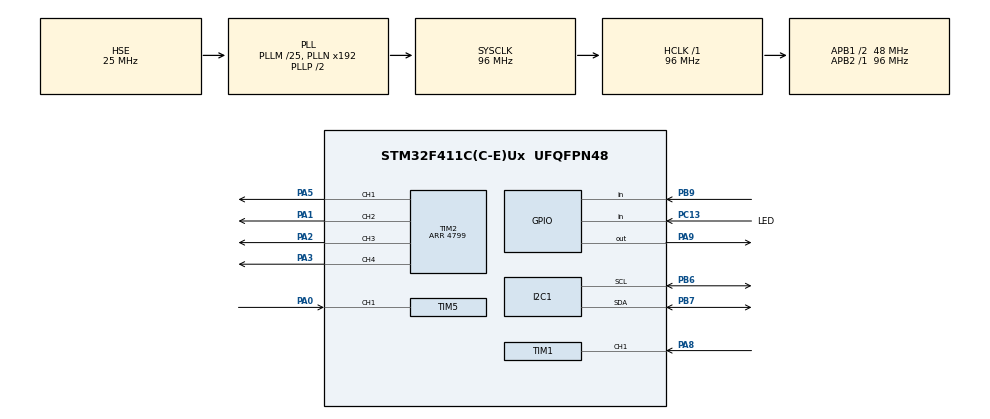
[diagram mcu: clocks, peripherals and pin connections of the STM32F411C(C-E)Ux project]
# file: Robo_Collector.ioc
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Mcu.Family=STM32F4
Mcu.Name=STM32F411C(C-E)Ux
Mcu.Package=UFQFPN48
NVIC.PriorityGroup=NVIC_PRIORITYGROUP_4
NVIC.TIM1_CC_IRQn=true\:0\:0\:false\:false\:true\:true\:true\:true
NVIC.TIM5_IRQn=true\:0\:0\:false\:false\:true\:true\:true\:true
PA0-WKUP.Signal=S_TIM5_CH1
PA1.Signal=S_TIM2_CH2
PA13.Mode=Serial_Wire
PA13.Signal=SYS_JTMS-SWDIO
PA14.Mode=Serial_Wire
PA14.Signal=SYS_JTCK-SWCLK
PA2.Signal=S_TIM2_CH3
PA3.Signal=S_TIM2_CH4
PA5.Signal=S_TIM2_CH1_ETR
PA8.Signal=S_TIM1_CH1
PA9.Signal=GPIO_Output
PB6.Mode=I2C
PB6.Signal=I2C1_SCL
PB7.Mode=I2C
PB7.Signal=I2C1_SDA
PB9.Signal=GPIO_Input
PC13-ANTI_TAMP.GPIO_Label=LED
PC13-ANTI_TAMP.Signal=GPIO_Input
PH0\ -\ OSC_IN.Mode=HSE-External-Oscillator
PH0\ -\ OSC_IN.Signal=RCC_OSC_IN
PH1\ -\ OSC_OUT.Mode=HSE-External-Oscillator
PH1\ -\ OSC_OUT.Signal=RCC_OSC_OUT
ProjectManager.HeapSize=0x200
ProjectManager.StackSize=0x400
ProjectManager.TargetToolchain=STM32CubeIDE
RCC.48MHZClocksFreq_Value=48000000
RCC.AHBFreq_Value=96000000
RCC.APB1CLKDivider=RCC_HCLK_DIV2
RCC.APB1Freq_Value=48000000
RCC.APB1TimFreq_Value=96000000
RCC.APB2Freq_Value=96000000
RCC.APB2TimFreq_Value=96000000
RCC.CortexFreq_Value=96000000
RCC.HCLKFreq_Value=96000000
RCC.HSE_VALUE=25000000
RCC.HSI_VALUE=16000000
RCC.LSE_VALUE=32768
RCC.PLLM=25
RCC.PLLSourceVirtual=RCC_PLLSOURCE_HSE
RCC.SYSCLKFreq_VALUE=96000000
RCC.SYSCLKSource=RCC_SYSCLKSOURCE_PLLCLK
RCC.VCOOutputFreq_Value=192000000
SH.S_TIM1_CH1.0=TIM1_CH1,Input_Capture1_from_TI1
SH.S_TIM2_CH1_ETR.0=TIM2_CH1,PWM Generation1 CH1
SH.S_TIM2_CH2.0=TIM2_CH2,PWM Generation2 CH2
SH.S_TIM2_CH3.0=TIM2_CH3,PWM Generation3 CH3
SH.S_TIM2_CH4.0=TIM2_CH4,PWM Generation4 CH4
SH.S_TIM5_CH1.0=TIM5_CH1,PWM_Input_1
TIM1.Channel-Input_Capture1_from_TI1=TIM_CHANNEL_1
TIM1.Prescaler=96-1
TIM2.Channel-PWM\ Generation1\ CH1=TIM_CHANNEL_1
TIM2.Channel-PWM\ Generation2\ CH2=TIM_CHANNEL_2
TIM2.Channel-PWM\ Generation3\ CH3=TIM_CHANNEL_3
TIM2.Channel-PWM\ Generation4\ CH4=TIM_CHANNEL_4
TIM2.Period=4799
VP_TIM2_VS_ClockSourceINT.Mode=Internal
VP_TIM5_VS_ClockSourceINT.Mode=Internal
board=custom

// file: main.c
/* USER CODE BEGIN Header */
/**
  ******************************************************************************
  * @file           : main.c
  * @brief          : Main program body
  ******************************************************************************
  * @attention
  *
  * Copyright (c) 2023 STMicroelectronics.
  * All rights reserved.
  *
  * This software is licensed under terms that can be found in the LICENSE file
  * in the root directory of this software component.
  * If no LICENSE file comes with this software, it is provided AS-IS.
  *
  ******************************************************************************
  */
/* USER CODE END Header */
#include "main.h"

/* USER CODE BEGIN Includes */
#include "motor_driver.h"
#include "string.h"
#include "stdio.h"
#include "ctype.h"

/* USER CODE END Includes */

I2C_HandleTypeDef hi2c1;

TIM_HandleTypeDef htim1;
TIM_HandleTypeDef htim2;
TIM_HandleTypeDef htim5;

void SystemClock_Config(void);
static void MX_GPIO_Init(void);
static void MX_TIM2_Init(void);
static void MX_TIM1_Init(void);
static void MX_I2C1_Init(void);
static void MX_TIM5_Init(void);

/* USER CODE BEGIN 0 */
void delay (uint16_t time)
{
	__HAL_TIM_SET_COUNTER(&htim1, 0);
	while (__HAL_TIM_GET_COUNTER (&htim1) < time);
}

uint32_t IC_Val1 = 0;
uint32_t IC_Val2 = 0;
uint32_t Difference = 0;
uint8_t Is_First_Captured = 0;
uint8_t Is_Dead = 0;
uint8_t Start = 0;
uint32_t trig = 0;
uint8_t Distance = 0;
uint8_t L1 = 0;
uint8_t L2 = 0;

#define TRIG_PIN GPIO_PIN_9 // make sure this is A9
#define TRIG_PORT GPIOA
#define LS_PORT GPIOB
#define LS_1 GPIO_PIN_9
#define LS_2 GPIO_PIN_8

void HAL_TIM_IC_CaptureCallback(TIM_HandleTypeDef *htim)
// figure out how to put the dead man's switch in this same callback
{

	if (htim == &htim5) //timer 5 is for dead man's switch
	{
		// maybe do a further check for channel
		trig = HAL_TIM_ReadCapturedValue(&htim5, TIM_CHANNEL_2)/100; // has to be on channel 2
		if (trig > 1700)
		{
			Is_Dead = 1;
			// some other code to kill the robot
			// maybe turn off motor drivers
		}
		if (trig < 1000 && trig!=0)
		{
			Start = 1;
			// start robot state
		}
	}

	if (htim == &htim1) // timer 1 is for the ultrasonic sensor
	{
		if (htim->Channel == HAL_TIM_ACTIVE_CHANNEL_1) // check if interpret source is channel 1
		{
			if (Is_First_Captured ==0) //if the first value is not captured
			{
				IC_Val1 = HAL_TIM_ReadCapturedValue(htim, TIM_CHANNEL_1); // read the first value
				Is_First_Captured = 1; // set the first captured as true
				// now change polarity to falling edge
				__HAL_TIM_SET_CAPTUREPOLARITY(htim, TIM_CHANNEL_1, TIM_INPUTCHANNELPOLARITY_FALLING);

			}
			else if (Is_First_Captured==1)
			{
				IC_Val2 = HAL_TIM_ReadCapturedValue(htim, TIM_CHANNEL_1); // read second value
				__HAL_TIM_SET_COUNTER(htim, 0);

				if (IC_Val2 > IC_Val1)
				{
					Difference = IC_Val2 - IC_Val1;
				}
				else if (IC_Val1 > IC_Val2)
				{
					Difference = (0xffff - IC_Val1) + IC_Val2;
				}

				Distance = Difference * .034/2; //FORMULA IN DATASHEET
				if (Distance<5 && Distance != 0 )
				{
					Is_Dead = 1; //KILL
				}
				Is_First_Captured = 0; // set it back to false

				//set polarity to rising edge
				__HAL_TIM_SET_CAPTUREPOLARITY(htim, TIM_CHANNEL_1, TIM_INPUTCHANNELPOLARITY_RISING);
				__HAL_TIM_DISABLE_IT(&htim1, TIM_IT_CC1);
			}
		}
	}

}

void HCSR04_Read (void)
{
	HAL_GPIO_WritePin(TRIG_PORT, TRIG_PIN, GPIO_PIN_SET); // pull TRIG pin HIGH
	delay(10); // wait for 10 us (based on above delay function)
	HAL_GPIO_WritePin(TRIG_PORT, TRIG_PIN, GPIO_PIN_RESET); //pull the TRIG pin low

	__HAL_TIM_ENABLE_IT(&htim1, TIM_IT_CC1);
}
/* USER CODE END 0 */

int main(void)
{

  /* MCU Configuration--------------------------------------------------------*/

  /* Reset of all peripherals, Initializes the Flash interface and the Systick. */
  HAL_Init();

  /* Configure the system clock */
  SystemClock_Config();

  /* Initialize all configured peripherals */
  MX_GPIO_Init();
  MX_TIM2_Init();
  MX_TIM1_Init();
  MX_I2C1_Init();
  MX_TIM5_Init();
  /* USER CODE BEGIN 2 */

  HAL_TIM_IC_Start_IT(&htim1, TIM_CHANNEL_1);
  HAL_TIM_IC_Start_IT(&htim5, TIM_CHANNEL_1); //start tim 5!!!!!
  HAL_TIM_IC_Start(&htim5, TIM_CHANNEL_2);

  motor_driver_t motor1 = {&htim2, TIM_CHANNEL_1, TIM_CHANNEL_2}; //pass values into struct
  motor_driver_t motor2 = {&htim2, TIM_CHANNEL_3, TIM_CHANNEL_4};

  /* USER CODE END 2 */

  /* Infinite loop */
  while (1)
  {

    /* USER CODE BEGIN 3 */
	  HCSR04_Read();
	  HAL_Delay(200); //200 ms delay
	  L1 = HAL_GPIO_ReadPin(LS_PORT, LS_1);
	  L2 = HAL_GPIO_ReadPin(LS_PORT, LS_2);

	  if (Start == 1)
	  {
		  enable(&motor1);
		  enable(&motor2);
		  Is_Dead = 0;
		  Start = 0;
	  }
	  if (Is_Dead == 1)
	  {
		  disable(&motor1);
		  disable(&motor2);
		  Start = 0;
		  Is_Dead = 0;
	  }
	  // L1 is closest to the Right wheel facing out (motor1)
	  // L2 is closest to the Left wheel facing out (motor2)

	  if(L1 == 0 && L2 ==0)
	  {
		  drive(&motor1, -10);
		  drive(&motor2, -10);
	  }
	  if(L1 == 0 && L2 ==1)
	  {

		  drive(&motor1, -5);
		  drive(&motor2, 10);

	  }
	  if(L1 == 1 && L2 ==0)
	  {
		  drive(&motor1, 10);
		  drive(&motor2, -5);
	  }
	  if(L1 == 1 && L2 ==1)
	  {
		  drive(&motor1, -10);
		  drive(&motor2, -10);
	  }

	  // some code to test duty cycle:

  }
  /* USER CODE END 3 */
}

void SystemClock_Config(void)
{
  RCC_OscInitTypeDef RCC_OscInitStruct = {0};
  RCC_ClkInitTypeDef RCC_ClkInitStruct = {0};

  /** Configure the main internal regulator output voltage
  */
  __HAL_RCC_PWR_CLK_ENABLE();
  __HAL_PWR_VOLTAGESCALING_CONFIG(PWR_REGULATOR_VOLTAGE_SCALE1);

  /** Initializes the RCC Oscillators according to the specified parameters
  * in the RCC_OscInitTypeDef structure.
  */
  RCC_OscInitStruct.OscillatorType = RCC_OSCILLATORTYPE_HSE;
  RCC_OscInitStruct.HSEState = RCC_HSE_ON;
  RCC_OscInitStruct.PLL.PLLState = RCC_PLL_ON;
  RCC_OscInitStruct.PLL.PLLSource = RCC_PLLSOURCE_HSE;
  RCC_OscInitStruct.PLL.PLLM = 25;
  RCC_OscInitStruct.PLL.PLLN = 192;
  RCC_OscInitStruct.PLL.PLLP = RCC_PLLP_DIV2;
  RCC_OscInitStruct.PLL.PLLQ = 4;
  if (HAL_RCC_OscConfig(&RCC_OscInitStruct) != HAL_OK)
  {
    Error_Handler();
  }

  /** Initializes the CPU, AHB and APB buses clocks
  */
  RCC_ClkInitStruct.ClockType = RCC_CLOCKTYPE_HCLK|RCC_CLOCKTYPE_SYSCLK
                              |RCC_CLOCKTYPE_PCLK1|RCC_CLOCKTYPE_PCLK2;
  RCC_ClkInitStruct.SYSCLKSource = RCC_SYSCLKSOURCE_PLLCLK;
  RCC_ClkInitStruct.AHBCLKDivider = RCC_SYSCLK_DIV1;
  RCC_ClkInitStruct.APB1CLKDivider = RCC_HCLK_DIV2;
  RCC_ClkInitStruct.APB2CLKDivider = RCC_HCLK_DIV1;

  if (HAL_RCC_ClockConfig(&RCC_ClkInitStruct, FLASH_LATENCY_3) != HAL_OK)
  {
    Error_Handler();
  }
}

static void MX_I2C1_Init(void)
{

  hi2c1.Instance = I2C1;
  hi2c1.Init.ClockSpeed = 100000;
  hi2c1.Init.DutyCycle = I2C_DUTYCYCLE_2;
  hi2c1.Init.OwnAddress1 = 0;
  hi2c1.Init.AddressingMode = I2C_ADDRESSINGMODE_7BIT;
  hi2c1.Init.DualAddressMode = I2C_DUALADDRESS_DISABLE;
  hi2c1.Init.OwnAddress2 = 0;
  hi2c1.Init.GeneralCallMode = I2C_GENERALCALL_DISABLE;
  hi2c1.Init.NoStretchMode = I2C_NOSTRETCH_DISABLE;
  if (HAL_I2C_Init(&hi2c1) != HAL_OK)
  {
    Error_Handler();
  }

}

static void MX_TIM1_Init(void)
{

  TIM_MasterConfigTypeDef sMasterConfig = {0};
  TIM_IC_InitTypeDef sConfigIC = {0};

  htim1.Instance = TIM1;
  htim1.Init.Prescaler = 96-1;
  htim1.Init.CounterMode = TIM_COUNTERMODE_UP;
  htim1.Init.Period = 65535;
  htim1.Init.ClockDivision = TIM_CLOCKDIVISION_DIV1;
  htim1.Init.RepetitionCounter = 0;
  htim1.Init.AutoReloadPreload = TIM_AUTORELOAD_PRELOAD_DISABLE;
  if (HAL_TIM_IC_Init(&htim1) != HAL_OK)
  {
    Error_Handler();
  }
  sMasterConfig.MasterOutputTrigger = TIM_TRGO_RESET;
  sMasterConfig.MasterSlaveMode = TIM_MASTERSLAVEMODE_DISABLE;
  if (HAL_TIMEx_MasterConfigSynchronization(&htim1, &sMasterConfig) != HAL_OK)
  {
    Error_Handler();
  }
  sConfigIC.ICPolarity = TIM_INPUTCHANNELPOLARITY_RISING;
  sConfigIC.ICSelection = TIM_ICSELECTION_DIRECTTI;
  sConfigIC.ICPrescaler = TIM_ICPSC_DIV1;
  sConfigIC.ICFilter = 0;
  if (HAL_TIM_IC_ConfigChannel(&htim1, &sConfigIC, TIM_CHANNEL_1) != HAL_OK)
  {
    Error_Handler();
  }

}

static void MX_TIM2_Init(void)
{

  TIM_ClockConfigTypeDef sClockSourceConfig = {0};
  TIM_MasterConfigTypeDef sMasterConfig = {0};
  TIM_OC_InitTypeDef sConfigOC = {0};

  htim2.Instance = TIM2;
  htim2.Init.Prescaler = 0;
  htim2.Init.CounterMode = TIM_COUNTERMODE_UP;
  htim2.Init.Period = 4799;
  htim2.Init.ClockDivision = TIM_CLOCKDIVISION_DIV1;
  htim2.Init.AutoReloadPreload = TIM_AUTORELOAD_PRELOAD_DISABLE;
  if (HAL_TIM_Base_Init(&htim2) != HAL_OK)
  {
    Error_Handler();
  }
  sClockSourceConfig.ClockSource = TIM_CLOCKSOURCE_INTERNAL;
  if (HAL_TIM_ConfigClockSource(&htim2, &sClockSourceConfig) != HAL_OK)
  {
    Error_Handler();
  }
  if (HAL_TIM_PWM_Init(&htim2) != HAL_OK)
  {
    Error_Handler();
  }
  sMasterConfig.MasterOutputTrigger = TIM_TRGO_RESET;
  sMasterConfig.MasterSlaveMode = TIM_MASTERSLAVEMODE_DISABLE;
  if (HAL_TIMEx_MasterConfigSynchronization(&htim2, &sMasterConfig) != HAL_OK)
  {
    Error_Handler();
  }
  sConfigOC.OCMode = TIM_OCMODE_PWM1;
  sConfigOC.Pulse = 0;
  sConfigOC.OCPolarity = TIM_OCPOLARITY_HIGH;
  sConfigOC.OCFastMode = TIM_OCFAST_DISABLE;
  if (HAL_TIM_PWM_ConfigChannel(&htim2, &sConfigOC, TIM_CHANNEL_1) != HAL_OK)
  {
    Error_Handler();
  }
  if (HAL_TIM_PWM_ConfigChannel(&htim2, &sConfigOC, TIM_CHANNEL_2) != HAL_OK)
  {
    Error_Handler();
  }
  if (HAL_TIM_PWM_ConfigChannel(&htim2, &sConfigOC, TIM_CHANNEL_3) != HAL_OK)
  {
    Error_Handler();
  }
  if (HAL_TIM_PWM_ConfigChannel(&htim2, &sConfigOC, TIM_CHANNEL_4) != HAL_OK)
  {
    Error_Handler();
  }
  HAL_TIM_MspPostInit(&htim2);

}

static void MX_TIM5_Init(void)
{

  TIM_ClockConfigTypeDef sClockSourceConfig = {0};
  TIM_SlaveConfigTypeDef sSlaveConfig = {0};
  TIM_IC_InitTypeDef sConfigIC = {0};
  TIM_MasterConfigTypeDef sMasterConfig = {0};

  htim5.Instance = TIM5;
  htim5.Init.Prescaler = 0;
  htim5.Init.CounterMode = TIM_COUNTERMODE_UP;
  htim5.Init.Period = 4294967295;
  htim5.Init.ClockDivision = TIM_CLOCKDIVISION_DIV1;
  htim5.Init.AutoReloadPreload = TIM_AUTORELOAD_PRELOAD_DISABLE;
  if (HAL_TIM_Base_Init(&htim5) != HAL_OK)
  {
    Error_Handler();
  }
  sClockSourceConfig.ClockSource = TIM_CLOCKSOURCE_INTERNAL;
  if (HAL_TIM_ConfigClockSource(&htim5, &sClockSourceConfig) != HAL_OK)
  {
    Error_Handler();
  }
  if (HAL_TIM_IC_Init(&htim5) != HAL_OK)
  {
    Error_Handler();
  }
  sSlaveConfig.SlaveMode = TIM_SLAVEMODE_RESET;
  sSlaveConfig.InputTrigger = TIM_TS_TI1FP1;
  sSlaveConfig.TriggerPolarity = TIM_INPUTCHANNELPOLARITY_RISING;
  sSlaveConfig.TriggerPrescaler = TIM_ICPSC_DIV1;
  sSlaveConfig.TriggerFilter = 0;
  if (HAL_TIM_SlaveConfigSynchro(&htim5, &sSlaveConfig) != HAL_OK)
  {
    Error_Handler();
  }
  sConfigIC.ICPolarity = TIM_INPUTCHANNELPOLARITY_RISING;
  sConfigIC.ICSelection = TIM_ICSELECTION_DIRECTTI;
  sConfigIC.ICPrescaler = TIM_ICPSC_DIV1;
  sConfigIC.ICFilter = 0;
  if (HAL_TIM_IC_ConfigChannel(&htim5, &sConfigIC, TIM_CHANNEL_1) != HAL_OK)
  {
    Error_Handler();
  }
  sConfigIC.ICPolarity = TIM_INPUTCHANNELPOLARITY_FALLING;
  sConfigIC.ICSelection = TIM_ICSELECTION_INDIRECTTI;
  if (HAL_TIM_IC_ConfigChannel(&htim5, &sConfigIC, TIM_CHANNEL_2) != HAL_OK)
  {
    Error_Handler();
  }
  sMasterConfig.MasterOutputTrigger = TIM_TRGO_RESET;
  sMasterConfig.MasterSlaveMode = TIM_MASTERSLAVEMODE_DISABLE;
  if (HAL_TIMEx_MasterConfigSynchronization(&htim5, &sMasterConfig) != HAL_OK)
  {
    Error_Handler();
  }

}

static void MX_GPIO_Init(void)
{
  GPIO_InitTypeDef GPIO_InitStruct = {0};

  /* GPIO Ports Clock Enable */
  __HAL_RCC_GPIOC_CLK_ENABLE();
  __HAL_RCC_GPIOH_CLK_ENABLE();
  __HAL_RCC_GPIOA_CLK_ENABLE();
  __HAL_RCC_GPIOB_CLK_ENABLE();

  /*Configure GPIO pin Output Level */
  HAL_GPIO_WritePin(GPIOA, GPIO_PIN_9, GPIO_PIN_RESET);

  /*Configure GPIO pin : LED_Pin */
  GPIO_InitStruct.Pin = LED_Pin;
  GPIO_InitStruct.Mode = GPIO_MODE_INPUT;
  GPIO_InitStruct.Pull = GPIO_NOPULL;
  HAL_GPIO_Init(LED_GPIO_Port, &GPIO_InitStruct);

  /*Configure GPIO pin : PA9 */
  GPIO_InitStruct.Pin = GPIO_PIN_9;
  GPIO_InitStruct.Mode = GPIO_MODE_OUTPUT_PP;
  GPIO_InitStruct.Pull = GPIO_NOPULL;
  GPIO_InitStruct.Speed = GPIO_SPEED_FREQ_LOW;
  HAL_GPIO_Init(GPIOA, &GPIO_InitStruct);

  /*Configure GPIO pin : PB9 */
  GPIO_InitStruct.Pin = GPIO_PIN_9;
  GPIO_InitStruct.Mode = GPIO_MODE_INPUT;
  GPIO_InitStruct.Pull = GPIO_NOPULL;
  HAL_GPIO_Init(GPIOB, &GPIO_InitStruct);

}

void Error_Handler(void)
{
  __disable_irq();
  while (1)
  {
  }
}
